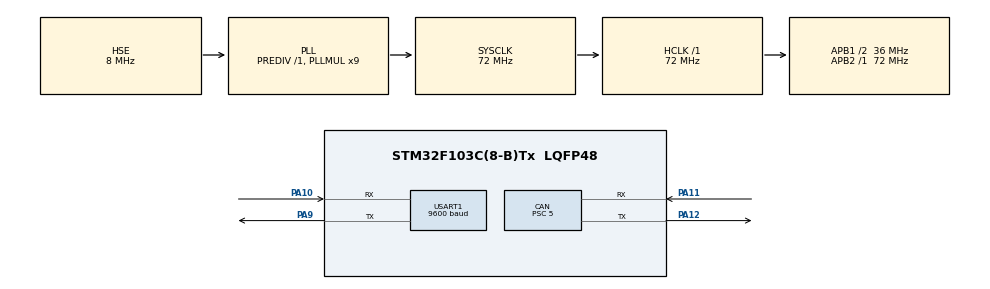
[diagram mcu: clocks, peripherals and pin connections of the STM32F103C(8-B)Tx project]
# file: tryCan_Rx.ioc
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CAN.BS1=CAN_BS1_3TQ
CAN.BS2=CAN_BS2_5TQ
CAN.CalculateTimeBit=1250
CAN.CalculateTimeQuantum=138.88888888888889
CAN.Mode=CAN_MODE_NORMAL
CAN.NART=DISABLE
CAN.Prescaler=5
Mcu.Family=STM32F1
Mcu.Name=STM32F103C(8-B)Tx
Mcu.Package=LQFP48
NVIC.PriorityGroup=NVIC_PRIORITYGROUP_4
NVIC.USART1_IRQn=true\:0\:0\:false\:false\:true\:true
NVIC.USB_LP_CAN1_RX0_IRQn=true\:0\:0\:false\:false\:true\:true
PA10.Mode=Asynchronous
PA10.Signal=USART1_RX
PA11.Mode=Master
PA11.Signal=CAN_RX
PA12.Mode=Master
PA12.Signal=CAN_TX
PA13.Mode=Serial_Wire
PA13.Signal=SYS_JTMS-SWDIO
PA14.Mode=Serial_Wire
PA14.Signal=SYS_JTCK-SWCLK
PA9.Mode=Asynchronous
PA9.Signal=USART1_TX
PD0-OSC_IN.Mode=HSE-External-Oscillator
PD0-OSC_IN.Signal=RCC_OSC_IN
PD1-OSC_OUT.Mode=HSE-External-Oscillator
PD1-OSC_OUT.Signal=RCC_OSC_OUT
ProjectManager.HeapSize=0x200
ProjectManager.StackSize=0x400
ProjectManager.TargetToolchain=MDK-ARM V5
RCC.AHBFreq_Value=72000000
RCC.APB1CLKDivider=RCC_HCLK_DIV2
RCC.APB1Freq_Value=36000000
RCC.APB1TimFreq_Value=72000000
RCC.APB2Freq_Value=72000000
RCC.APB2TimFreq_Value=72000000
RCC.HCLKFreq_Value=72000000
RCC.PLLMUL=RCC_PLL_MUL9
RCC.PLLSourceVirtual=RCC_PLLSOURCE_HSE
RCC.SYSCLKFreq_VALUE=72000000
RCC.SYSCLKSource=RCC_SYSCLKSOURCE_PLLCLK
RCC.USBFreq_Value=72000000
USART1.BaudRate=9600
USART1.VirtualMode=VM_ASYNC
board=tryCan_Rx

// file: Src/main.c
/**
  ******************************************************************************
  * File Name          : main.c
  * Description        : Main program body
  ******************************************************************************
  ** This notice applies to any and all portions of this file
  * that are not between comment pairs USER CODE BEGIN and
  * USER CODE END. Other portions of this file, whether
  * inserted by the user or by software development tools
  * are owned by their respective copyright owners.
  *
  * COPYRIGHT(c) 2018 STMicroelectronics
  *
  * Redistribution and use in source and binary forms, with or without modification,
  * are permitted provided that the following conditions are met:
  *   1. Redistributions of source code must retain the above copyright notice,
  *      this list of conditions and the following disclaimer.
  *   2. Redistributions in binary form must reproduce the above copyright notice,
  *      this list of conditions and the following disclaimer in the documentation
  *      and/or other materials provided with the distribution.
  *   3. Neither the name of STMicroelectronics nor the names of its contributors
  *      may be used to endorse or promote products derived from this software
  *      without specific prior written permission.
  *
  * THIS SOFTWARE IS PROVIDED BY THE COPYRIGHT HOLDERS AND CONTRIBUTORS "AS IS"
  * AND ANY EXPRESS OR IMPLIED WARRANTIES, INCLUDING, BUT NOT LIMITED TO, THE
  * IMPLIED WARRANTIES OF MERCHANTABILITY AND FITNESS FOR A PARTICULAR PURPOSE ARE
  * DISCLAIMED. IN NO EVENT SHALL THE COPYRIGHT HOLDER OR CONTRIBUTORS BE LIABLE
  * FOR ANY DIRECT, INDIRECT, INCIDENTAL, SPECIAL, EXEMPLARY, OR CONSEQUENTIAL
  * DAMAGES (INCLUDING, BUT NOT LIMITED TO, PROCUREMENT OF SUBSTITUTE GOODS OR
  * SERVICES; LOSS OF USE, DATA, OR PROFITS; OR BUSINESS INTERRUPTION) HOWEVER
  * CAUSED AND ON ANY THEORY OF LIABILITY, WHETHER IN CONTRACT, STRICT LIABILITY,
  * OR TORT (INCLUDING NEGLIGENCE OR OTHERWISE) ARISING IN ANY WAY OUT OF THE USE
  * OF THIS SOFTWARE, EVEN IF ADVISED OF THE POSSIBILITY OF SUCH DAMAGE.
  *
  ******************************************************************************
  */
#include "main.h"
#include "stm32f1xx_hal.h"

CAN_HandleTypeDef hcan;

UART_HandleTypeDef huart1;

/* USER CODE BEGIN PV */
/* Private variables ---------------------------------------------------------*/
static CanRxMsgTypeDef        RxMessage;

/* USER CODE END PV */

void SystemClock_Config(void);
static void MX_GPIO_Init(void);
static void MX_CAN_Init(void);
static void MX_USART1_UART_Init(void);

/* USER CODE BEGIN PFP */
/* Private function prototypes -----------------------------------------------*/
CAN_FilterConfTypeDef  sFilterConfig;

/* USER CODE END PFP */

int main(void)
{

  /* MCU Configuration----------------------------------------------------------*/

  /* Reset of all peripherals, Initializes the Flash interface and the Systick. */
  HAL_Init();

  /* Configure the system clock */
  SystemClock_Config();

  /* Initialize all configured peripherals */
  MX_GPIO_Init();
  MX_CAN_Init();
  MX_USART1_UART_Init();

  /* USER CODE BEGIN 2 */
	hcan.pRxMsg = &RxMessage;

	sFilterConfig.FilterNumber = 0;
  sFilterConfig.FilterMode = CAN_FILTERMODE_IDMASK;
  sFilterConfig.FilterScale = CAN_FILTERSCALE_32BIT;
  sFilterConfig.FilterIdHigh = 0x0000;
  sFilterConfig.FilterIdLow = 0x0000;
  sFilterConfig.FilterMaskIdHigh = 0x0000;
  sFilterConfig.FilterMaskIdLow = 0x0000;
  sFilterConfig.FilterFIFOAssignment = 0;
  sFilterConfig.FilterActivation = ENABLE;
  sFilterConfig.BankNumber = 14;
  HAL_CAN_ConfigFilter(&hcan, &sFilterConfig);

  if(HAL_CAN_Receive_IT(&hcan,CAN_FIFO0 )!=HAL_OK)
		HAL_UART_Transmit(&huart1, (uint8_t *)"error\n", 6, 100);
  /* USER CODE END 2 */

  /* Infinite loop */
  while (1)
  {

  }

}

/** System Clock Configuration
*/
void SystemClock_Config(void)
{

  RCC_OscInitTypeDef RCC_OscInitStruct;
  RCC_ClkInitTypeDef RCC_ClkInitStruct;

    /**Initializes the CPU, AHB and APB busses clocks
    */
  RCC_OscInitStruct.OscillatorType = RCC_OSCILLATORTYPE_HSE;
  RCC_OscInitStruct.HSEState = RCC_HSE_ON;
  RCC_OscInitStruct.HSEPredivValue = RCC_HSE_PREDIV_DIV1;
  RCC_OscInitStruct.HSIState = RCC_HSI_ON;
  RCC_OscInitStruct.PLL.PLLState = RCC_PLL_ON;
  RCC_OscInitStruct.PLL.PLLSource = RCC_PLLSOURCE_HSE;
  RCC_OscInitStruct.PLL.PLLMUL = RCC_PLL_MUL9;
  if (HAL_RCC_OscConfig(&RCC_OscInitStruct) != HAL_OK)
  {
    _Error_Handler(__FILE__, __LINE__);
  }

    /**Initializes the CPU, AHB and APB busses clocks
    */
  RCC_ClkInitStruct.ClockType = RCC_CLOCKTYPE_HCLK|RCC_CLOCKTYPE_SYSCLK
                              |RCC_CLOCKTYPE_PCLK1|RCC_CLOCKTYPE_PCLK2;
  RCC_ClkInitStruct.SYSCLKSource = RCC_SYSCLKSOURCE_PLLCLK;
  RCC_ClkInitStruct.AHBCLKDivider = RCC_SYSCLK_DIV1;
  RCC_ClkInitStruct.APB1CLKDivider = RCC_HCLK_DIV2;
  RCC_ClkInitStruct.APB2CLKDivider = RCC_HCLK_DIV1;

  if (HAL_RCC_ClockConfig(&RCC_ClkInitStruct, FLASH_LATENCY_2) != HAL_OK)
  {
    _Error_Handler(__FILE__, __LINE__);
  }

    /**Configure the Systick interrupt time
    */
  HAL_SYSTICK_Config(HAL_RCC_GetHCLKFreq()/1000);

    /**Configure the Systick
    */
  HAL_SYSTICK_CLKSourceConfig(SYSTICK_CLKSOURCE_HCLK);

  /* SysTick_IRQn interrupt configuration */
  HAL_NVIC_SetPriority(SysTick_IRQn, 0, 0);
}

/* CAN init function */
static void MX_CAN_Init(void)
{

  hcan.Instance = CAN1;
  hcan.Init.Prescaler = 5;
  hcan.Init.Mode = CAN_MODE_NORMAL;
  hcan.Init.SJW = CAN_SJW_1TQ;
  hcan.Init.BS1 = CAN_BS1_3TQ;
  hcan.Init.BS2 = CAN_BS2_5TQ;
  hcan.Init.TTCM = DISABLE;
  hcan.Init.ABOM = DISABLE;
  hcan.Init.AWUM = DISABLE;
  hcan.Init.NART = DISABLE;
  hcan.Init.RFLM = DISABLE;
  hcan.Init.TXFP = DISABLE;
  if (HAL_CAN_Init(&hcan) != HAL_OK)
  {
    _Error_Handler(__FILE__, __LINE__);
  }

}

/* USART1 init function */
static void MX_USART1_UART_Init(void)
{

  huart1.Instance = USART1;
  huart1.Init.BaudRate = 9600;
  huart1.Init.WordLength = UART_WORDLENGTH_8B;
  huart1.Init.StopBits = UART_STOPBITS_1;
  huart1.Init.Parity = UART_PARITY_NONE;
  huart1.Init.Mode = UART_MODE_TX_RX;
  huart1.Init.HwFlowCtl = UART_HWCONTROL_NONE;
  huart1.Init.OverSampling = UART_OVERSAMPLING_16;
  if (HAL_UART_Init(&huart1) != HAL_OK)
  {
    _Error_Handler(__FILE__, __LINE__);
  }

}

/** Configure pins as
        * Analog
        * Input
        * Output
        * EVENT_OUT
        * EXTI
*/
static void MX_GPIO_Init(void)
{

  /* GPIO Ports Clock Enable */
  __HAL_RCC_GPIOD_CLK_ENABLE();
  __HAL_RCC_GPIOA_CLK_ENABLE();

}

/* USER CODE BEGIN 4 */
void HAL_CAN_RxCpltCallback(CAN_HandleTypeDef* hcan)
{
	HAL_UART_Transmit(&huart1, (uint8_t *)hcan->pRxMsg->Data, 8, 100);
	if(HAL_CAN_Receive_IT(hcan,CAN_FIFO0 )!=HAL_OK)
		HAL_UART_Transmit(&huart1, (uint8_t *)"error\n", 6, 100);
}
/* USER CODE END 4 */

void _Error_Handler(char * file, int line)
{
  while(1)
  {
  }
}

/************************ (C) COPYRIGHT STMicroelectronics *****END OF FILE****/
